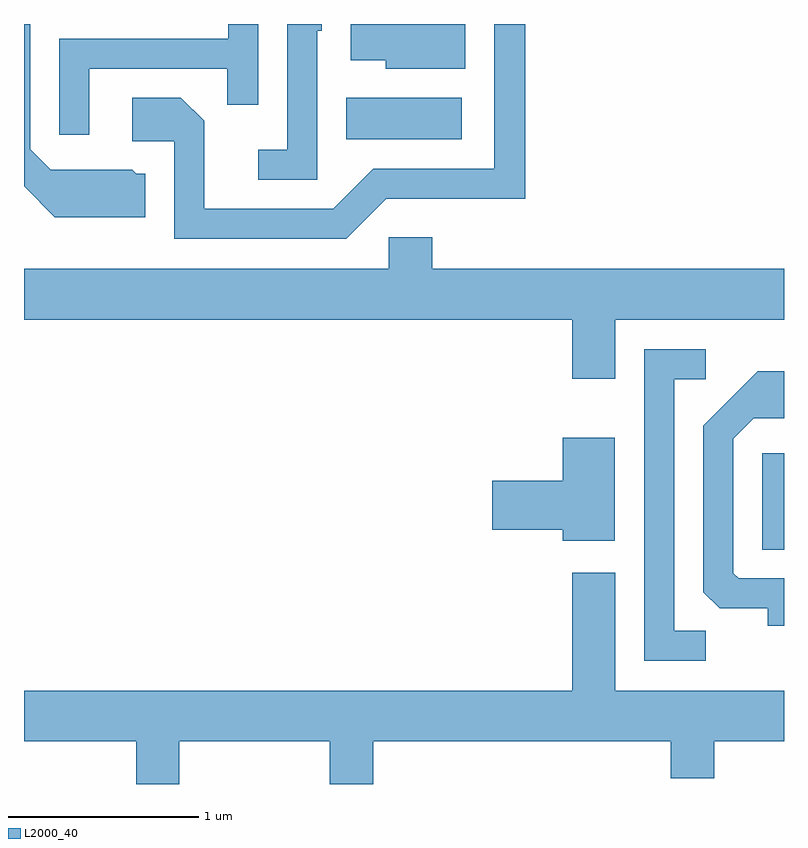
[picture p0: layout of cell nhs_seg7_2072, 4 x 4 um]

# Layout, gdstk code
import gdstk
lib = gdstk.Library(unit=1e-6, precision=1e-09)
def R(c, l, rs):  # rectangles x0, y0, x1, y1
    for r in rs: c.add(gdstk.rectangle(r[:2], r[2:], *l))
def P(c, l, *ps):  # polygons
    for p in ps: c.add(gdstk.Polygon(p, *l))
L2000_40 = (2000, 40)

nhs_seg7_2072 = lib.new_cell('nhs_seg7_2072')
R(nhs_seg7_2072, L2000_40, [(251.496,1777.486,251.611,1777.993), (249.306,1779.646,249.914,1779.864)])
P(nhs_seg7_2072, L2000_40, [(248.249,1779.464),(248.202,1779.464),(248.182,1779.484),(247.752,1779.484),(247.644,1779.592),(247.644,1780.252),(247.611,1780.252),(247.611,1779.399),(247.774,1779.236),(248.249,1779.236)],
  [(247.954,1780.016),(248.681,1780.016),(248.681,1779.828),(248.844,1779.828),(248.844,1780.252),(248.686,1780.252),(248.686,1780.174),(247.796,1780.174),(247.796,1779.668),(247.954,1779.668)],
  [(249.934,1780.252),(249.331,1780.252),(249.331,1780.061),(249.516,1780.061),(249.516,1780.016),(249.934,1780.016)],
  [(249.517,1779.331),(250.249,1779.331),(250.249,1780.252),(250.086,1780.252),(250.086,1779.489),(249.449,1779.489),(249.239,1779.279),(248.559,1779.279),(248.559,1779.742),(248.437,1779.864),(248.181,1779.864),(248.181,1779.636),(248.401,1779.636),(248.401,1779.121),(249.307,1779.121)],
  [(249.154,1780.216),(249.179,1780.216),(249.179,1780.252),(248.996,1780.252),(248.996,1779.589),(248.843,1779.589),(248.843,1779.431),(249.154,1779.431)],
  [(250.724,1778.696),(251.611,1778.696),(251.611,1778.964),(249.759,1778.964),(249.759,1779.129),(249.531,1779.129),(249.531,1778.964),(247.611,1778.964),(247.611,1778.696),(250.496,1778.696),(250.496,1778.386),(250.724,1778.386)],
  [(251.198,1777.059),(251.034,1777.059),(251.034,1778.381),(251.198,1778.381),(251.198,1778.539),(250.876,1778.539),(250.876,1776.901),(251.198,1776.901)],
  [(251.611,1777.334),(251.372,1777.334),(251.344,1777.362),(251.344,1778.069),(251.452,1778.176),(251.611,1778.176),(251.611,1778.424),(251.474,1778.424),(251.186,1778.137),(251.186,1777.262),(251.272,1777.176),(251.526,1777.176),(251.526,1777.086),(251.611,1777.086)],
  [(250.719,1778.074),(250.446,1778.074),(250.446,1777.849),(250.076,1777.849),(250.076,1777.591),(250.446,1777.591),(250.446,1777.531),(250.719,1777.531)],
  [(248.429,1776.476),(249.221,1776.476),(249.221,1776.252),(249.449,1776.252),(249.449,1776.476),(251.016,1776.476),(251.016,1776.281),(251.244,1776.281),(251.244,1776.476),(251.611,1776.476),(251.611,1776.744),(250.724,1776.744),(250.724,1777.364),(250.496,1777.364),(250.496,1776.744),(247.611,1776.744),(247.611,1776.476),(248.201,1776.476),(248.201,1776.252),(248.429,1776.252)])

lib.write_gds('nhs_seg7_2072.gds')
